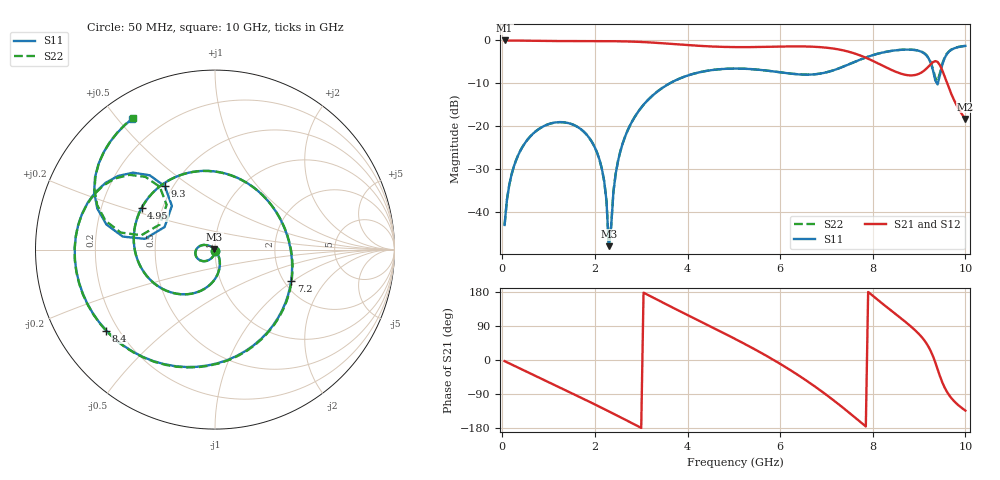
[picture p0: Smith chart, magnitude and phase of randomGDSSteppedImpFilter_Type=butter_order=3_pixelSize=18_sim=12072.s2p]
! freq	dB(S11)	phase(S11)	dB(S12)	phase(S12)
!  dB(S21)	phase(S21)	dB(S22)	phase(S22)
!S-par simulation data
#  GHz  S  DB  R 50
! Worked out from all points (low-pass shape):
!   200 points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, 50 MHz to 10 GHz, reference 50 ohm
!   highest |S21| = -0.01 dB at 50 MHz (marker M1); lowest = -18.3 dB at 10 GHz (marker M2)
!   |S21| within 3 dB of the highest: start of sweep to 7.6 GHz
!   lowest |S11| = -47.9 dB at 2.3 GHz (marker M3), VSWR 1.01, Z = 49.6 + j0.0706 ohm
!   |S11| at or under -10 dB: start of sweep to 3.614 GHz; 9.387099 GHz to 9.405497 GHz (18.4 MHz wide, 0.196 % of centre)
!   |S22| runs from -47.8 to -1.3 dB; largest |S21 - S12| = 0
!   S11 on the Smith chart (normalised r, x): 50 MHz: 1.00, -0.01; 4.95 GHz: 0.38, +0.23; 7.2 GHz: 2.18, -0.96; 8.4 GHz: 0.15, -0.32; 9.3 GHz: 0.45, +0.40; 10 GHz: 0.10, +0.55
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0.05  -42.94 -89.5  -0.01 -3.0  -0.01 -3.0  -42.94 -89.5
0.2  -31.20 -100.9  -0.03 -11.8  -0.03 -11.8  -31.20 -100.9
0.55  -23.01 -122.4  -0.07 -32.3  -0.07 -32.3  -23.01 -122.4
1.75  -21.13 167.3  -0.16 -102.4  -0.16 -102.4  -21.13 167.4
2.15  -29.86 144.5  -0.16 -126.4  -0.16 -126.4  -29.86 144.8
2.3  -47.87 169.9  -0.17 -135.5  -0.17 -135.5  -47.75 170.8
2.45  -30.92 -58.1  -0.19 -144.8  -0.19 -144.8  -30.92 -58.2
2.6  -23.96 -66.1  -0.22 -154.1  -0.22 -154.1  -23.96 -66.2
3.4  -11.47 -115.2  -0.61 155.7  -0.61 155.7  -11.47 -115.1
4.15  -7.70 -161.0  -1.19 109.5  -1.19 109.5  -7.70 -160.8
4.95  -6.56 150.4  -1.54 60.5  -1.54 60.5  -6.55 150.8
5.05  -6.55 144.2  -1.55 54.2  -1.55 54.2  -6.55 144.6
5.95  -7.35 83.8  -1.43 -6.5  -1.43 -6.5  -7.34 84.6
6.7  -7.92 23.9  -1.46 -65.6  -1.46 -65.6  -7.91 25.1
7.2  -6.77 -22.3  -1.98 -110.7  -1.98 -110.7  -6.76 -21.2
7.75  -4.38 -78.3  -3.58 -165.3  -3.58 -165.3  -4.37 -77.3
8.35  -2.53 -138.5  -6.59 135.0  -6.59 135.0  -2.52 -137.7
8.4  -2.44 -143.3  -6.84 130.2  -6.84 130.2  -2.44 -142.5
8.9  -2.22 169.7  -8.07 80.2  -8.07 80.2  -2.21 170.7
9.3  -6.94 128.4  -5.05 10.0  -5.05 10.0  -6.64 131.3
9.5  -5.70 172.0  -6.93 -58.6  -6.93 -58.6  -5.45 169.8
10  -1.28 122.2  -18.27 -133.5  -18.27 -133.5  -1.26 121.8
